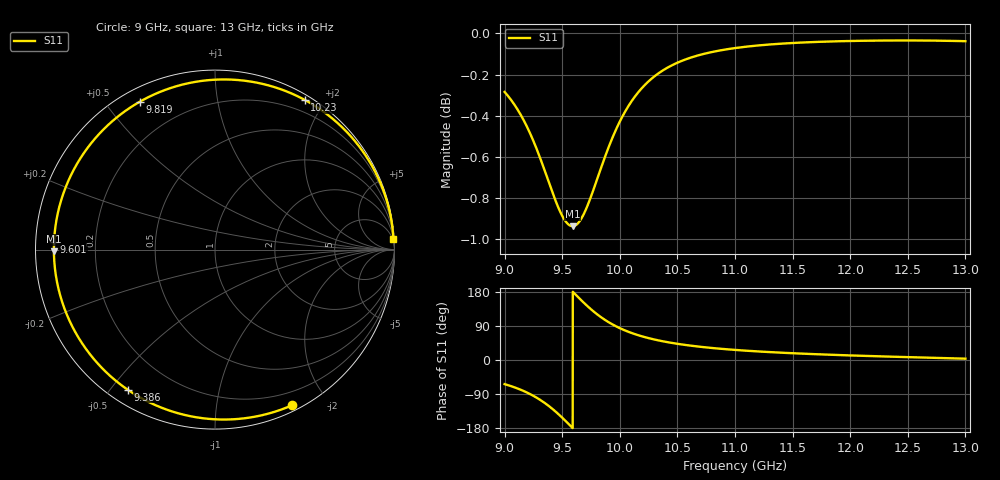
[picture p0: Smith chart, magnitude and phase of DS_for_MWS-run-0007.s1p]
! TOUCHSTONE file generated by CST DESIGN STUDIO
! Date and time: Tue Feb  4 18:46:44 2025
! Project name: C:\Work\MatlabApps\UnitCellOptimizationMatlab\CST\unitcell.cst
! Tree item: Tasks\Sweep1\SPara1\S-Parameters
! Header version: 2024
! Port assignment regex: !\s*Touchstone port\s*([0-9]+)\s*=\s*(CST MWS port|CST DES external port|CST DES block port)\s*(.+)\s* \(\"(.*)\"\)(\s*mode\s*([0-9]+))?.*
! Touchstone port assignment:
! Touchstone port 1 = CST DES external port 1 ("")
# GHz S MA R 50
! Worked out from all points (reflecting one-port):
!   4001 points, 9 GHz to 13 GHz, reference 50 ohm
!   lowest |S11| = -0.9 dB at 9.59 GHz (marker M1), VSWR 18.55, Z = 2.69 - j0.268 ohm
!   phase of S11 starts at -64 deg and turns -293 deg over the sweep
!   S11 on the Smith chart (normalised r, x): 9 GHz: 0.06, -1.61; 9.386 GHz: 0.05, -0.55; 9.601 GHz: 0.05, +0.02; 9.819 GHz: 0.05, +0.61; 10.23 GHz: 0.06, +1.76; 13 GHz: 2, +33
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9  0.9678 -63.6
9.047  0.9642 -68.1
9.116  0.9579 -75.6
9.234  0.9438 -91.9
9.315  0.9316 -106.5
9.386  0.9197 -121.9
9.442  0.9107 -136.0
9.5  0.9029 -152.2
9.546  0.899 -165.9
9.59  0.8977 -179.4
9.601  0.8978 177.2
9.657  0.9007 160.1
9.718  0.9079 142.4
9.768  0.9157 129.2
9.819  0.9244 116.9
9.859  0.9312 108.3
9.902  0.9381 99.9
10  0.9519 84.0
10.111  0.9635 70.3
10.233  0.9725 59.0
10.357  0.9788 50.4
10.5  0.9837 42.7
10.72  0.9885 34.2
11  0.9918 26.6
11.5  0.9946 17.9
12  0.9958 12.1
12.5  0.9961 7.5
13  0.9956 3.5
